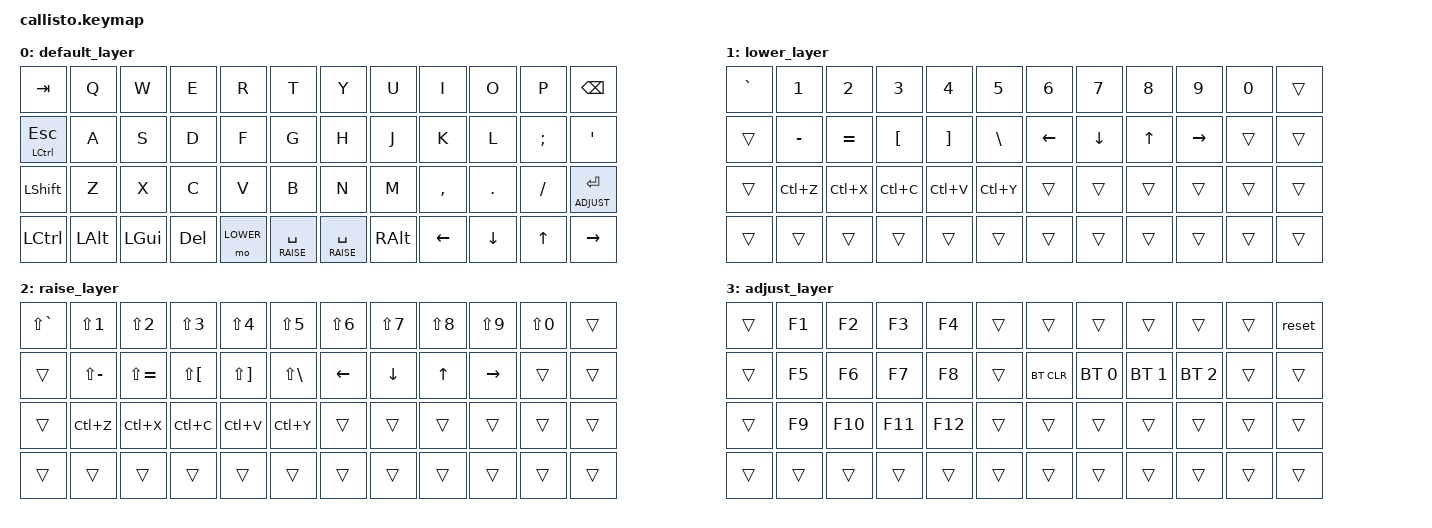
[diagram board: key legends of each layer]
/*
 * Copyright (c) 2021 The ZMK Contributors
 *
 * SPDX-License-Identifier: MIT
 */
 
#include <behaviors.dtsi>
#include <dt-bindings/zmk/keys.h>
#include <dt-bindings/zmk/bt.h>
#include <dt-bindings/zmk/outputs.h>

#define DEFAULT 0
#define LOWER   1
#define RAISE   2
#define ADJUST  3

/ {
    keymap {
        compatible = "zmk,keymap";

        default_layer {
            bindings = <
                &kp TAB         &kp Q            &kp W           &kp E          &kp R          &kp T           &kp Y           &kp U           &kp I           &kp O           &kp P           &kp BSPC
                &mt LCTRL ESC   &kp A            &kp S           &kp D          &kp F          &kp G           &kp H           &kp J           &kp K           &kp L           &kp SEMI        &kp SQT
                &kp LSHFT       &kp Z            &kp X           &kp C          &kp V          &kp B           &kp N           &kp M           &kp COMMA       &kp DOT         &kp FSLH        &lt ADJUST ENTER
                &kp LCTRL       &kp LALT         &kp LGUI        &kp DEL        &mo LOWER      &lt RAISE SPACE &lt RAISE SPACE &kp RALT        &kp LEFT        &kp DOWN        &kp UP          &kp RIGHT
            >;
        };

        lower_layer {
            bindings = <
                &kp GRAVE       &kp N1           &kp N2          &kp N3         &kp N4         &kp N5          &kp N6          &kp N7          &kp N8          &kp N9          &kp N0          &trans
                &trans          &kp MINUS        &kp EQUAL       &kp LBKT       &kp RBKT       &kp BSLH        &kp LEFT        &kp DOWN        &kp UP          &kp RIGHT       &trans          &trans
                &trans          &kp LC(Z)        &kp LC(X)       &kp LC(C)      &kp LC(V)      &kp LC(Y)       &trans          &trans          &trans          &trans          &trans          &trans
                &trans          &trans           &trans          &trans         &trans         &trans          &trans          &trans          &trans          &trans          &trans          &trans
            >;
        };

        raise_layer {
            bindings = <
                &kp LS(GRAVE)   &kp LS(N1)       &kp LS(N2)      &kp LS(N3)     &kp LS(N4)     &kp LS(N5)      &kp LS(N6)      &kp LS(N7)      &kp LS(N8)      &kp LS(N9)      &kp LS(N0)      &trans
                &trans          &kp LS(MINUS)    &kp LS(EQUAL)   &kp LS(LBKT)   &kp LS(RBKT)   &kp LS(BSLH)    &kp LEFT        &kp DOWN        &kp UP          &kp RIGHT       &trans          &trans
                &trans          &kp LC(Z)        &kp LC(X)       &kp LC(C)      &kp LC(V)      &kp LC(Y)       &trans          &trans          &trans          &trans          &trans          &trans
                &trans          &trans           &trans          &trans         &trans         &trans          &trans          &trans          &trans          &trans          &trans          &trans
            >;
        };

        adjust_layer {
            bindings = <
                &trans          &kp F1           &kp F2          &kp F3         &kp F4         &trans          &trans          &trans          &trans          &trans          &trans          &reset
                &trans          &kp F5           &kp F6          &kp F7         &kp F8         &trans          &bt BT_CLR      &bt BT_SEL 0    &bt BT_SEL 1    &bt BT_SEL 2    &trans          &trans
                &trans          &kp F9           &kp F10         &kp F11        &kp F12        &trans          &trans          &trans          &trans          &trans          &trans          &trans
                &trans          &trans           &trans          &trans         &trans         &trans          &trans          &trans          &trans          &trans          &trans          &trans
            >;
        };
    };
};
